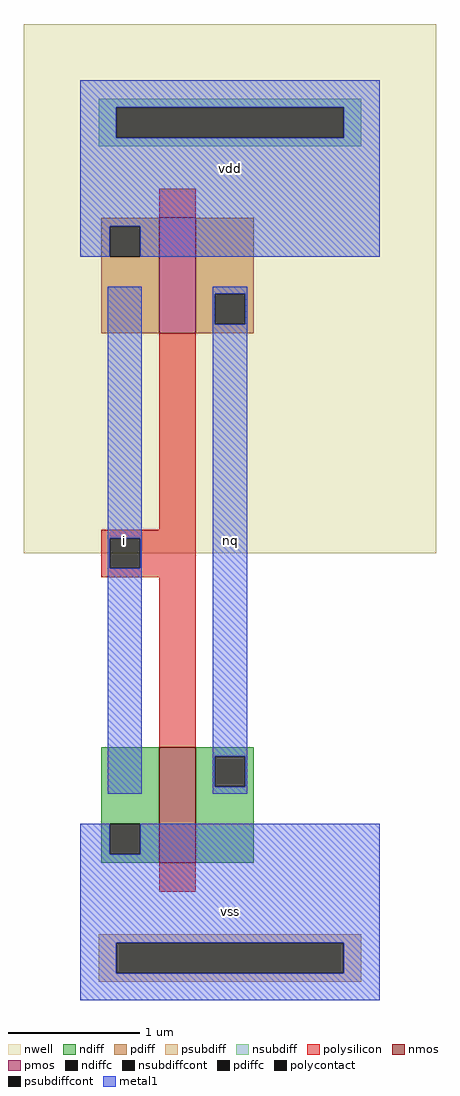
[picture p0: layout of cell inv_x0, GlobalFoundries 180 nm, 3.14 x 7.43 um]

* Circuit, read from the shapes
.subckt inv_x0 vss vdd nq i
XM1 nq i vss vss nfet_03v3 w=0.88u l=0.28u
XM2 nq i vdd vdd pfet_03v3 w=0.88u l=0.28u
.ends

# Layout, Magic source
magic
tech gf180mcuD
magscale 1 10
<< nwell >>
rect -86 680 542 1486
<< nmos >>
rect 120 209 176 385
<< pmos >>
rect 120 1015 176 1191
<< ndiff >>
rect 32 268 120 385
rect 32 222 45 268
rect 91 222 120 268
rect 32 209 120 222
rect 176 371 264 385
rect 176 325 205 371
rect 251 325 264 371
rect 176 209 264 325
<< pdiff >>
rect 32 1178 120 1191
rect 32 1132 45 1178
rect 91 1132 120 1178
rect 32 1015 120 1132
rect 176 1075 264 1191
rect 176 1029 205 1075
rect 251 1029 264 1075
rect 176 1015 264 1029
<< ndiffc >>
rect 45 222 91 268
rect 205 325 251 371
<< pdiffc >>
rect 45 1132 91 1178
rect 205 1029 251 1075
<< psubdiff >>
rect 28 87 428 100
rect 28 41 55 87
rect 401 41 428 87
rect 28 28 428 41
<< nsubdiff >>
rect 28 1359 428 1372
rect 28 1313 55 1359
rect 401 1313 428 1359
rect 28 1300 428 1313
<< psubdiffcont >>
rect 55 41 401 87
<< nsubdiffcont >>
rect 55 1313 401 1359
<< polysilicon >>
rect 120 1191 176 1235
rect 120 716 176 1015
rect 32 703 176 716
rect 32 657 45 703
rect 91 657 176 703
rect 32 644 176 657
rect 120 385 176 644
rect 120 165 176 209
<< polycontact >>
rect 45 657 91 703
<< metal1 >>
rect 0 1359 456 1400
rect 0 1313 55 1359
rect 401 1313 456 1359
rect 0 1178 456 1313
rect 0 1132 45 1178
rect 91 1132 456 1178
rect 42 703 94 1086
rect 42 657 45 703
rect 91 657 94 703
rect 42 314 94 657
rect 202 1075 254 1086
rect 202 1029 205 1075
rect 251 1029 254 1075
rect 202 371 254 1029
rect 202 325 205 371
rect 251 325 254 371
rect 202 314 254 325
rect 0 222 45 268
rect 91 222 456 268
rect 0 87 456 222
rect 0 41 55 87
rect 401 41 456 87
rect 0 0 456 41
<< labels >>
rlabel metal1 s 0 0 456 268 4 vss
port 3 nsew
rlabel metal1 s 0 1132 456 1400 4 vdd
port 5 nsew
rlabel metal1 s 202 314 254 1086 4 nq
port 7 nsew
rlabel metal1 s 42 314 94 1086 4 i
port 9 nsew
<< end >>
